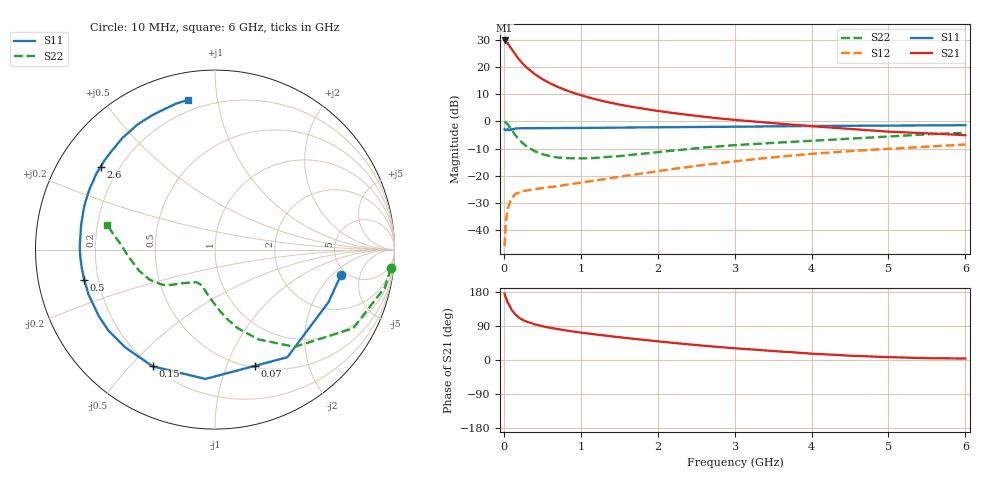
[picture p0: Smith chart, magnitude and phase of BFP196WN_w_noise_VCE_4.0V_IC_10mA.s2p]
! Infineon Technologies  Discrete & RF Semiconductors
! BFP196WN
! VCE =  4.0 V,  IC =  10 mA
! Common Emitter S-Parameters:  Jan 2017
# GHz  S  MA  R  50
!  f  S11  S21  S12  S22
! GHz  MAG  ANG  MAG  ANG  MAG  ANG  MAG  ANG
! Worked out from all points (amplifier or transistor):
!   77 points, 10 MHz to 6 GHz, reference 50 ohm
!   highest |S21| = 29.7 dB at 10 MHz (marker M1)
!   |S21| within 3 dB of that: start of sweep to 97.5 MHz
!   unconditionally stable (mu >= 1): 1.131 GHz to 2.655 GHz
!   at 130 MHz: K = 0.19, MSG = 26.3 dB, |S12| = -27.3 dB
!   at 2.2 GHz: K = 1.05, MAG = 8.9 dB, |S12| = -17.5 dB
!   at 6 GHz: K = 0.88, MSG = 1.7 dB, |S12| = -8.5 dB
!   lowest NFmin = 0.92 dB at 450 MHz
!   S11 on the Smith chart (normalised r, x): 10 MHz: 4.47, -2.60; 70 MHz: 0.52, -1.26; 150 MHz: 0.20, -0.58; 500 MHz: 0.15, -0.11; 2.6 GHz: 0.13, +0.32; 6 GHz: 0.14, +0.83
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0.01  0.7158 -11.4  30.43 175.0  0.0051 82.5  0.9853 -6.1
0.02  0.6969 -24.9  29.25 168.2  0.0102 79.2  0.9692 -12.6
0.05  0.7226 -56.1  27.2 152.0  0.0248 65.5  0.8859 -29.7
0.07  0.6846 -71.2  24.51 145.2  0.03 57.2  0.7994 -36.9
0.1  0.7225 -94.2  21.31 132.2  0.0386 49.3  0.7003 -50.7
0.15  0.7375 -118.1  16.81 119.8  0.0462 40.4  0.5556 -64.2
0.2  0.7398 -132.6  13.51 111.3  0.0495 35.8  0.4572 -73.7
0.25  0.7459 -142.9  11.24 105.4  0.0522 33.3  0.3913 -80.2
0.3  0.746 -150.3  9.573 100.9  0.0537 32.3  0.3409 -85.7
0.4  0.7477 -160.3  7.357 94.1  0.0567 32.2  0.2831 -93.6
0.5  0.7476 -167.1  5.943 89.2  0.0594 33.9  0.2496 -100.2
0.6  0.7493 -172.1  4.982 85.1  0.0622 35.5  0.2286 -105.2
0.7  0.751 -176.2  4.277 81.6  0.0639 38.0  0.216 -108.6
0.9  0.7534 177.1  3.338 75.2  0.0712 42.0  0.2093 -115.0
1.1  0.7554 171.9  2.743 69.9  0.0785 46.4  0.2098 -119.8
1.5  0.765 163.4  2.028 60.1  0.0953 52.0  0.2288 -127.6
2.1  0.7772 152.4  1.483 47.3  0.1274 57.0  0.2804 -136.9
2.6  0.7866 144.0  1.212 37.6  0.158 57.9  0.3297 -143.5
3.1  0.796 136.0  1.032 29.6  0.1905 56.7  0.3714 -150.1
4.1  0.8203 120.3  0.795 15.7  0.258 50.9  0.446 -166.6
5.1  0.8336 108.5  0.635 7.0  0.3177 43.4  0.535 175.6
6  0.8478 100.1  0.556 3.9  0.3745 36.6  0.6141 167.3
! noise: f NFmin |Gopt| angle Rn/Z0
0.45  0.92  0.37  146  0.05
0.9  1.09  0.52  167  0.05
1.9  2.29  0.71  206  0.13
2.4  3.04  0.72  213  0.24
